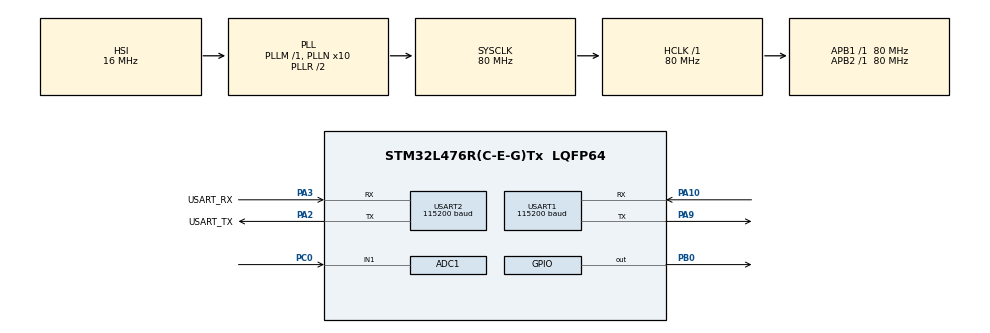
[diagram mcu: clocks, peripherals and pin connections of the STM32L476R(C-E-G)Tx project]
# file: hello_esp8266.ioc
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Mcu.Family=STM32L4
PA2.GPIO_PuPd=GPIO_NOPULL
VP_SYS_VS_tim6.Mode=TIM6
RCC.CortexFreq_Value=80000000
NVIC.TIM6_DAC_IRQn=true\:0\:0\:false\:false\:true\:false\:false\:true
PH0-OSC_IN\ (PH0).Signal=RCC_OSC_IN
USART1.BaudRate=115200
PA3.GPIO_PuPd=GPIO_NOPULL
PA2.GPIO_Speed=GPIO_SPEED_FREQ_VERY_HIGH
PC15-OSC32_OUT\ (PC15).Mode=LSE-External-Oscillator
PA3.GPIO_Speed=GPIO_SPEED_FREQ_VERY_HIGH
RCC.SYSCLKSource=RCC_SYSCLKSOURCE_PLLCLK
ProjectManager.StackSize=0x400
PB3\ (JTDO-TRACESWO).Signal=SYS_JTDO-SWO
PC14-OSC32_IN\ (PC14).Mode=LSE-External-Oscillator
VP_FREERTOS_VS_CMSIS_V2.Mode=CMSIS_V2
PA14\ (JTCK-SWCLK).Signal=SYS_JTCK-SWCLK
RCC.HCLKFreq_Value=80000000
RCC.APB2TimFreq_Value=80000000
RCC.AHBFreq_Value=80000000
RCC.PREFETCH_ENABLE=1
ADC1.Channel-0\#ChannelRegularConversion=ADC_CHANNEL_1
RCC.HSE_VALUE=8000000
USART2.VirtualMode-Asynchronous=VM_ASYNC
ADC1.SamplingTime-0\#ChannelRegularConversion=ADC_SAMPLETIME_2CYCLES_5
Mcu.Package=LQFP64
NVIC.TimeBase=TIM6_DAC_IRQn
PA2.GPIO_Label=USART_TX
NVIC.TimeBaseIP=TIM6
PA10.Signal=USART1_RX
SH.ADCx_IN1.0=ADC1_IN1,IN1-Single-Ended
RCC.APB1TimFreq_Value=80000000
PA13\ (JTMS-SWDIO).Signal=SYS_JTMS-SWDIO
NVIC.USART1_IRQn=true\:5\:0\:false\:false\:true\:true\:true\:true
PA3.Signal=USART2_RX
PA2.GPIO_Mode=GPIO_MODE_AF_PP
RCC.MSI_VALUE=4000000
RCC.PLLSourceVirtual=RCC_PLLSOURCE_HSI
PA14\ (JTCK-SWCLK).Mode=Serial_Wire
FREERTOS.Tasks01=esp8266Task,24,128,StartESP8266Task,Default,NULL,Dynamic,NULL,NULL
ADC1.Rank-0\#ChannelRegularConversion=1
PA10.Mode=Asynchronous
ADC1.OffsetNumber-0\#ChannelRegularConversion=ADC_OFFSET_NONE
PC15-OSC32_OUT\ (PC15).Signal=RCC_OSC32_OUT
PA14\ (JTCK-SWCLK).GPIO_Label=TCK
PB3\ (JTDO-TRACESWO).GPIO_Label=SWO
PC0.Signal=ADCx_IN1
NVIC.USART2_IRQn=true\:5\:0\:false\:false\:true\:true\:true\:true
USART2.BaudRate=115200
PH1-OSC_OUT\ (PH1).Signal=RCC_OSC_OUT
USART1.VirtualMode-Asynchronous=VM_ASYNC
PA3.Mode=Asynchronous
PA9.Mode=Asynchronous
ProjectManager.TargetToolchain=STM32CubeIDE
PA3.GPIO_Mode=GPIO_MODE_AF_PP
PA9.Signal=USART1_TX
RCC.USBFreq_Value=64000000
board=NUCLEO-L476RG
RCC.VCOOutputFreq_Value=160000000
RCC.APB2Freq_Value=80000000
PA13\ (JTMS-SWDIO).GPIO_Label=TMS
RCC.ADCFreq_Value=64000000
Mcu.Name=STM32L476R(C-E-G)Tx
PA2.Signal=USART2_TX
PA13\ (JTMS-SWDIO).Mode=Serial_Wire
RCC.SYSCLKFreq_VALUE=80000000
ADC1.master=1
PC14-OSC32_IN\ (PC14).Signal=RCC_OSC32_IN
ProjectManager.HeapSize=0x200
RCC.HSI_VALUE=16000000
NVIC.PriorityGroup=NVIC_PRIORITYGROUP_4
ADC1.NbrOfConversionFlag=1
RCC.PLLN=10
PA2.Mode=Asynchronous
RCC.APB1Freq_Value=80000000
PB0.Signal=GPIO_Output
PA3.GPIO_Label=USART_RX

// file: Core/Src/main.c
/* USER CODE BEGIN Header */
/**
  ******************************************************************************
  * @file           : main.c
  * @brief          : Main program body
  ******************************************************************************
  * @attention
  *
  * <h2><center>&copy; Copyright (c) 2021 STMicroelectronics.
  * All rights reserved.</center></h2>
  *
  * This software component is licensed by ST under BSD 3-Clause license,
  * the "License"; You may not use this file except in compliance with the
  * License. You may obtain a copy of the License at:
  *                        opensource.org/licenses/BSD-3-Clause
  *
  ******************************************************************************
  */
/* USER CODE END Header */
#include "main.h"
#include "cmsis_os.h"

/* USER CODE BEGIN Includes */
#include "stdio.h"
#include "string.h"
#include "UARTRingBuffer.h"
/* USER CODE END Includes */

/* USER CODE BEGIN PD */
#ifdef __GNUC__
	#define PUTCHAR_PROTOTYPE int __io_putchar(int ch)
#else
	#define PUTCHAR_PROTOTYPE int fputc(int ch, FILE *f)
#endif /* __GNUC__ */
/* USER CODE END PD */

ADC_HandleTypeDef hadc1;

UART_HandleTypeDef huart1;
UART_HandleTypeDef huart2;

/* Definitions for esp8266Task */
osThreadId_t esp8266TaskHandle;
const osThreadAttr_t esp8266Task_attributes = {
  .name = "esp8266Task",
  .stack_size = 128 * 4,
  .priority = (osPriority_t) osPriorityNormal,
};
/* USER CODE BEGIN PV */
extern UARTRingBufferHandle_t uartRingBuffer1;
extern UARTRingBufferHandle_t uartRingBuffer2;
/* USER CODE END PV */

void SystemClock_Config(void);
static void MX_GPIO_Init(void);
static void MX_USART2_UART_Init(void);
static void MX_USART1_UART_Init(void);
static void MX_ADC1_Init(void);
void StartESP8266Task(void *argument);

/* USER CODE BEGIN 0 */
PUTCHAR_PROTOTYPE
{
	HAL_UART_Transmit(&huart1, (uint8_t *)&ch, 1, 0xFFFF);
	return ch;
}
/* USER CODE END 0 */

int main(void)
{

  /* MCU Configuration--------------------------------------------------------*/

  /* Reset of all peripherals, Initializes the Flash interface and the Systick. */
  HAL_Init();

  /* Configure the system clock */
  SystemClock_Config();

  /* Initialize all configured peripherals */
  MX_GPIO_Init();
  MX_USART2_UART_Init();
  MX_USART1_UART_Init();
  MX_ADC1_Init();
  /* USER CODE BEGIN 2 */
  vInitUARTRingBuffers();
  // printf("gpio.mode(3, gpio.OUTPUT)\r\n");
  /* USER CODE END 2 */

  /* Init scheduler */
  osKernelInitialize();

  /* Create the thread(s) */
  /* creation of esp8266Task */
  esp8266TaskHandle = osThreadNew(StartESP8266Task, NULL, &esp8266Task_attributes);

  /* Start scheduler */
  osKernelStart();

  /* We should never get here as control is now taken by the scheduler */
  /* Infinite loop */
  while (1)
  {

  }
}

void SystemClock_Config(void)
{
  RCC_OscInitTypeDef RCC_OscInitStruct = {0};
  RCC_ClkInitTypeDef RCC_ClkInitStruct = {0};
  RCC_PeriphCLKInitTypeDef PeriphClkInit = {0};

  /** Initializes the RCC Oscillators according to the specified parameters
  * in the RCC_OscInitTypeDef structure.
  */
  RCC_OscInitStruct.OscillatorType = RCC_OSCILLATORTYPE_HSI;
  RCC_OscInitStruct.HSIState = RCC_HSI_ON;
  RCC_OscInitStruct.HSICalibrationValue = RCC_HSICALIBRATION_DEFAULT;
  RCC_OscInitStruct.PLL.PLLState = RCC_PLL_ON;
  RCC_OscInitStruct.PLL.PLLSource = RCC_PLLSOURCE_HSI;
  RCC_OscInitStruct.PLL.PLLM = 1;
  RCC_OscInitStruct.PLL.PLLN = 10;
  RCC_OscInitStruct.PLL.PLLP = RCC_PLLP_DIV7;
  RCC_OscInitStruct.PLL.PLLQ = RCC_PLLQ_DIV2;
  RCC_OscInitStruct.PLL.PLLR = RCC_PLLR_DIV2;
  if (HAL_RCC_OscConfig(&RCC_OscInitStruct) != HAL_OK)
  {
    Error_Handler();
  }
  /** Initializes the CPU, AHB and APB buses clocks
  */
  RCC_ClkInitStruct.ClockType = RCC_CLOCKTYPE_HCLK|RCC_CLOCKTYPE_SYSCLK
                              |RCC_CLOCKTYPE_PCLK1|RCC_CLOCKTYPE_PCLK2;
  RCC_ClkInitStruct.SYSCLKSource = RCC_SYSCLKSOURCE_PLLCLK;
  RCC_ClkInitStruct.AHBCLKDivider = RCC_SYSCLK_DIV1;
  RCC_ClkInitStruct.APB1CLKDivider = RCC_HCLK_DIV1;
  RCC_ClkInitStruct.APB2CLKDivider = RCC_HCLK_DIV1;

  if (HAL_RCC_ClockConfig(&RCC_ClkInitStruct, FLASH_LATENCY_4) != HAL_OK)
  {
    Error_Handler();
  }
  PeriphClkInit.PeriphClockSelection = RCC_PERIPHCLK_USART1|RCC_PERIPHCLK_USART2
                              |RCC_PERIPHCLK_ADC;
  PeriphClkInit.Usart1ClockSelection = RCC_USART1CLKSOURCE_PCLK2;
  PeriphClkInit.Usart2ClockSelection = RCC_USART2CLKSOURCE_PCLK1;
  PeriphClkInit.AdcClockSelection = RCC_ADCCLKSOURCE_PLLSAI1;
  PeriphClkInit.PLLSAI1.PLLSAI1Source = RCC_PLLSOURCE_HSI;
  PeriphClkInit.PLLSAI1.PLLSAI1M = 1;
  PeriphClkInit.PLLSAI1.PLLSAI1N = 8;
  PeriphClkInit.PLLSAI1.PLLSAI1P = RCC_PLLP_DIV7;
  PeriphClkInit.PLLSAI1.PLLSAI1Q = RCC_PLLQ_DIV2;
  PeriphClkInit.PLLSAI1.PLLSAI1R = RCC_PLLR_DIV2;
  PeriphClkInit.PLLSAI1.PLLSAI1ClockOut = RCC_PLLSAI1_ADC1CLK;
  if (HAL_RCCEx_PeriphCLKConfig(&PeriphClkInit) != HAL_OK)
  {
    Error_Handler();
  }
  /** Configure the main internal regulator output voltage
  */
  if (HAL_PWREx_ControlVoltageScaling(PWR_REGULATOR_VOLTAGE_SCALE1) != HAL_OK)
  {
    Error_Handler();
  }
}

static void MX_ADC1_Init(void)
{

  ADC_MultiModeTypeDef multimode = {0};
  ADC_ChannelConfTypeDef sConfig = {0};

  /** Common config
  */
  hadc1.Instance = ADC1;
  hadc1.Init.ClockPrescaler = ADC_CLOCK_ASYNC_DIV1;
  hadc1.Init.Resolution = ADC_RESOLUTION_12B;
  hadc1.Init.DataAlign = ADC_DATAALIGN_RIGHT;
  hadc1.Init.ScanConvMode = ADC_SCAN_DISABLE;
  hadc1.Init.EOCSelection = ADC_EOC_SINGLE_CONV;
  hadc1.Init.LowPowerAutoWait = DISABLE;
  hadc1.Init.ContinuousConvMode = DISABLE;
  hadc1.Init.NbrOfConversion = 1;
  hadc1.Init.DiscontinuousConvMode = DISABLE;
  hadc1.Init.ExternalTrigConv = ADC_SOFTWARE_START;
  hadc1.Init.ExternalTrigConvEdge = ADC_EXTERNALTRIGCONVEDGE_NONE;
  hadc1.Init.DMAContinuousRequests = DISABLE;
  hadc1.Init.Overrun = ADC_OVR_DATA_PRESERVED;
  hadc1.Init.OversamplingMode = DISABLE;
  if (HAL_ADC_Init(&hadc1) != HAL_OK)
  {
    Error_Handler();
  }
  /** Configure the ADC multi-mode
  */
  multimode.Mode = ADC_MODE_INDEPENDENT;
  if (HAL_ADCEx_MultiModeConfigChannel(&hadc1, &multimode) != HAL_OK)
  {
    Error_Handler();
  }
  /** Configure Regular Channel
  */
  sConfig.Channel = ADC_CHANNEL_1;
  sConfig.Rank = ADC_REGULAR_RANK_1;
  sConfig.SamplingTime = ADC_SAMPLETIME_2CYCLES_5;
  sConfig.SingleDiff = ADC_SINGLE_ENDED;
  sConfig.OffsetNumber = ADC_OFFSET_NONE;
  sConfig.Offset = 0;
  if (HAL_ADC_ConfigChannel(&hadc1, &sConfig) != HAL_OK)
  {
    Error_Handler();
  }

}

static void MX_USART1_UART_Init(void)
{

  huart1.Instance = USART1;
  huart1.Init.BaudRate = 115200;
  huart1.Init.WordLength = UART_WORDLENGTH_8B;
  huart1.Init.StopBits = UART_STOPBITS_1;
  huart1.Init.Parity = UART_PARITY_NONE;
  huart1.Init.Mode = UART_MODE_TX_RX;
  huart1.Init.HwFlowCtl = UART_HWCONTROL_NONE;
  huart1.Init.OverSampling = UART_OVERSAMPLING_16;
  huart1.Init.OneBitSampling = UART_ONE_BIT_SAMPLE_DISABLE;
  huart1.AdvancedInit.AdvFeatureInit = UART_ADVFEATURE_NO_INIT;
  if (HAL_UART_Init(&huart1) != HAL_OK)
  {
    Error_Handler();
  }

}

static void MX_USART2_UART_Init(void)
{

  huart2.Instance = USART2;
  huart2.Init.BaudRate = 115200;
  huart2.Init.WordLength = UART_WORDLENGTH_8B;
  huart2.Init.StopBits = UART_STOPBITS_1;
  huart2.Init.Parity = UART_PARITY_NONE;
  huart2.Init.Mode = UART_MODE_TX_RX;
  huart2.Init.HwFlowCtl = UART_HWCONTROL_NONE;
  huart2.Init.OverSampling = UART_OVERSAMPLING_16;
  huart2.Init.OneBitSampling = UART_ONE_BIT_SAMPLE_DISABLE;
  huart2.AdvancedInit.AdvFeatureInit = UART_ADVFEATURE_NO_INIT;
  if (HAL_UART_Init(&huart2) != HAL_OK)
  {
    Error_Handler();
  }

}

static void MX_GPIO_Init(void)
{
  GPIO_InitTypeDef GPIO_InitStruct = {0};

  /* GPIO Ports Clock Enable */
  __HAL_RCC_GPIOC_CLK_ENABLE();
  __HAL_RCC_GPIOH_CLK_ENABLE();
  __HAL_RCC_GPIOA_CLK_ENABLE();
  __HAL_RCC_GPIOB_CLK_ENABLE();

  /*Configure GPIO pin Output Level */
  HAL_GPIO_WritePin(GPIOB, GPIO_PIN_0, GPIO_PIN_RESET);

  /*Configure GPIO pin : PB0 */
  GPIO_InitStruct.Pin = GPIO_PIN_0;
  GPIO_InitStruct.Mode = GPIO_MODE_OUTPUT_PP;
  GPIO_InitStruct.Pull = GPIO_NOPULL;
  GPIO_InitStruct.Speed = GPIO_SPEED_FREQ_LOW;
  HAL_GPIO_Init(GPIOB, &GPIO_InitStruct);

}

void StartESP8266Task(void *argument)
{
  /* USER CODE BEGIN 5 */
  /* Infinite loop */
  for(;;)
  {
  	/*
  	// NodeMCU communication
    printf("gpio.write(3, gpio.LOW)\r\n");
    osDelay(1000);
    printf("gpio.write(3, gpio.HIGH)\r\n");
    osDelay(1000);
    */

  	/*
  	// AT Communication
  	uint8_t status;
  	unsigned char c;
  	while (uGetNumReadableCharRXBuffer(&uartRingBuffer2) > 0)
  	{
  		status = xReadUART(&uartRingBuffer2, &c);
  		status = xWriteUART(&uartRingBuffer2, c);
  	}
  	*/

  	uint8_t status;
  	unsigned char c;
  	while (uGetNumReadableCharRXBuffer(&uartRingBuffer2) != 0)
  	{
  		status = xReadUART(&uartRingBuffer2, &c);
  		status = xWriteUART(&uartRingBuffer1, c);
  	}

  	while (uGetNumReadableCharRXBuffer(&uartRingBuffer1) != 0)
  	{
  		status = xReadUART(&uartRingBuffer1, &c);
  		status = xWriteUART(&uartRingBuffer2, c);
  	}

  	//HAL_GPIO_WritePin(GPIOB, GPIO_PIN_0, GPIO_PIN_SET);
  	vFlushRXUART(&uartRingBuffer1);
  	vFlushRXUART(&uartRingBuffer2);
    osDelay(100);
  	//HAL_GPIO_WritePin(GPIOB, GPIO_PIN_0, GPIO_PIN_RESET);
  	HAL_GPIO_TogglePin(GPIOB, GPIO_PIN_0);
  }
  /* USER CODE END 5 */
}

 /**
  * @brief  Period elapsed callback in non blocking mode
  * @note   This function is called  when TIM6 interrupt took place, inside
  * HAL_TIM_IRQHandler(). It makes a direct call to HAL_IncTick() to increment
  * a global variable "uwTick" used as application time base.
  * @param  htim : TIM handle
  * @retval None
  */
void HAL_TIM_PeriodElapsedCallback(TIM_HandleTypeDef *htim)
{
  if (htim->Instance == TIM6) {
    HAL_IncTick();
  }
}

void Error_Handler(void)
{
  __disable_irq();
  while (1)
  {
  }
}

/************************ (C) COPYRIGHT STMicroelectronics *****END OF FILE****/
